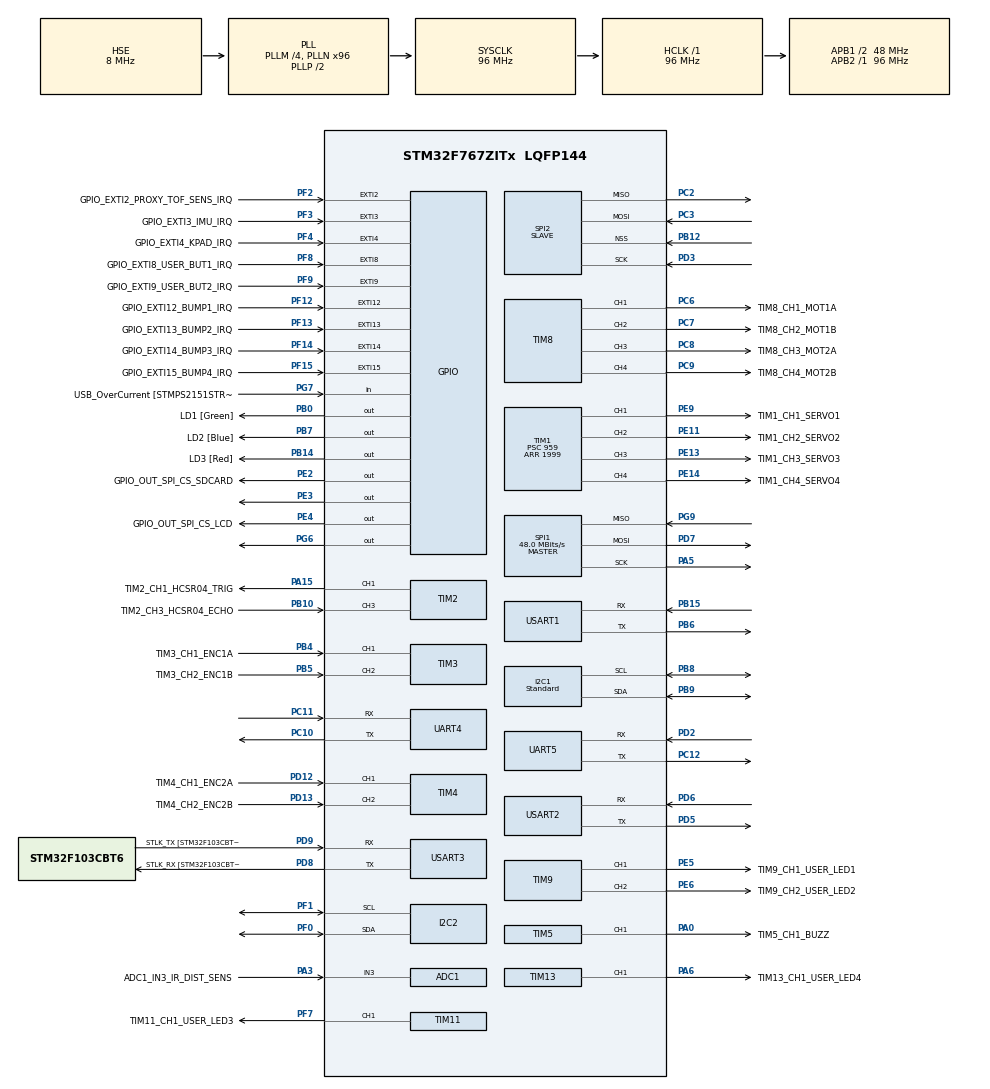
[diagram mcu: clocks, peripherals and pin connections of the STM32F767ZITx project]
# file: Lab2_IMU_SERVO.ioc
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ADC1.Channel-1\#ChannelRegularConversion=ADC_CHANNEL_3
ADC1.NbrOfConversionFlag=1
ADC1.Rank-1\#ChannelRegularConversion=1
ADC1.SamplingTime-1\#ChannelRegularConversion=ADC_SAMPLETIME_3CYCLES
ADC1.master=1
I2C1.I2C_Speed_Mode=I2C_Standard
I2C1.Timing=0x20303E5D
I2C2.Timing=0x20303E5D
Mcu.Family=STM32F7
Mcu.Name=STM32F767ZITx
Mcu.Package=LQFP144
NVIC.EXTI2_IRQn=true\:1\:0\:true\:false\:true\:true\:true\:true
NVIC.PriorityGroup=NVIC_PRIORITYGROUP_4
PA0/WKUP.GPIO_Label=TIM5_CH1_BUZZ
PA0/WKUP.Signal=S_TIM5_CH1
PA1.GPIO_Label=RMII_REF_CLK [LAN8742A-CZ-TR_REFCLK0]
PA1.Signal=ETH_REF_CLK
PA10.GPIO_Label=USB_ID
PA10.Signal=USB_OTG_FS_ID
PA11.GPIO_Label=USB_DM
PA11.Signal=USB_OTG_FS_DM
PA12.GPIO_Label=USB_DP
PA12.Signal=USB_OTG_FS_DP
PA13.GPIO_Label=TMS
PA13.Mode=Serial_Wire
PA13.Signal=SYS_JTMS-SWDIO
PA14.GPIO_Label=TCK
PA14.Mode=Serial_Wire
PA14.Signal=SYS_JTCK-SWCLK
PA15.GPIO_Label=TIM2_CH1_HCSR04_TRIG
PA15.Signal=S_TIM2_CH1_ETR
PA2.GPIO_Label=RMII_MDIO [LAN8742A-CZ-TR_MDIO]
PA2.Signal=ETH_MDIO
PA3.GPIO_Label=ADC1_IN3_IR_DIST_SENS
PA3.Signal=ADCx_IN3
PA5.Mode=Full_Duplex_Master
PA5.Signal=SPI1_SCK
PA6.GPIO_Label=TIM13_CH1_USER_LED4
PA6.Signal=S_TIM13_CH1
PA7.GPIO_Label=RMII_CRS_DV [LAN8742A-CZ-TR_CRS_DV]
PA7.Signal=ETH_CRS_DV
PA8.GPIO_Label=USB_SOF [TP1]
PA8.Signal=USB_OTG_FS_SOF
PA9.GPIO_Label=USB_VBUS
PA9.Signal=USB_OTG_FS_VBUS
PB0.GPIO_Label=LD1 [Green]
PB0.Signal=GPIO_Output
PB10.GPIO_Label=TIM2_CH3_HCSR04_ECHO
PB10.Signal=S_TIM2_CH3
PB12.Mode=NSS_Signal_Hard_Input
PB12.Signal=SPI2_NSS
PB13.GPIO_Label=RMII_TXD1 [LAN8742A-CZ-TR_TXD1]
PB13.Signal=ETH_TXD1
PB14.GPIO_Label=LD3 [Red]
PB14.Signal=GPIO_Output
PB15.Mode=Asynchronous
PB15.Signal=USART1_RX
PB3.GPIO_Label=SWO
PB3.Signal=SYS_JTDO-SWO
PB4.GPIO_Label=TIM3_CH1_ENC1A
PB4.Signal=S_TIM3_CH1
PB5.GPIO_Label=TIM3_CH2_ENC1B
PB5.Signal=S_TIM3_CH2
PB6.Mode=Asynchronous
PB6.Signal=USART1_TX
PB7.GPIO_Label=LD2 [Blue]
PB7.Signal=GPIO_Output
PB8.GPIO_Pu=GPIO_PULLUP
PB8.Mode=I2C
PB8.Signal=I2C1_SCL
PB9.GPIO_Pu=GPIO_PULLUP
PB9.Mode=I2C
PB9.Signal=I2C1_SDA
PC1.GPIO_Label=RMII_MDC [LAN8742A-CZ-TR_MDC]
PC1.Signal=ETH_MDC
PC10.Mode=Asynchronous
PC10.Signal=UART4_TX
PC11.Mode=Asynchronous
PC11.Signal=UART4_RX
PC12.Mode=Asynchronous
PC12.Signal=UART5_TX
PC14/OSC32_IN.Mode=LSE-External-Oscillator
PC14/OSC32_IN.Signal=RCC_OSC32_IN
PC15/OSC32_OUT.Mode=LSE-External-Oscillator
PC15/OSC32_OUT.Signal=RCC_OSC32_OUT
PC2.Mode=Full_Duplex_Slave
PC2.Signal=SPI2_MISO
PC3.Mode=Full_Duplex_Slave
PC3.Signal=SPI2_MOSI
PC4.GPIO_Label=RMII_RXD0 [LAN8742A-CZ-TR_RXD0]
PC4.Signal=ETH_RXD0
PC5.GPIO_Label=RMII_RXD1 [LAN8742A-CZ-TR_RXD1]
PC5.Signal=ETH_RXD1
PC6.GPIO_Label=TIM8_CH1_MOT1A
PC6.Signal=S_TIM8_CH1
PC7.GPIO_Label=TIM8_CH2_MOT1B
PC7.Signal=S_TIM8_CH2
PC8.GPIO_Label=TIM8_CH3_MOT2A
PC8.Signal=S_TIM8_CH3
PC9.GPIO_Label=TIM8_CH4_MOT2B
PC9.Signal=S_TIM8_CH4
PD12.GPIO_Label=TIM4_CH1_ENC2A
PD12.Signal=S_TIM4_CH1
PD13.GPIO_Label=TIM4_CH2_ENC2B
PD13.Signal=S_TIM4_CH2
PD2.Mode=Asynchronous
PD2.Signal=UART5_RX
PD3.Mode=Full_Duplex_Slave
PD3.Signal=SPI2_SCK
PD5.Mode=Asynchronous
PD5.Signal=USART2_TX
PD6.Mode=Asynchronous
PD6.Signal=USART2_RX
PD7.Mode=Full_Duplex_Master
PD7.Signal=SPI1_MOSI
PD8.GPIO_Label=STLK_RX [STM32F103CBT6_PA3]
PD8.Mode=Asynchronous
PD8.Signal=USART3_TX
PD9.GPIO_Label=STLK_TX [STM32F103CBT6_PA2]
PD9.Mode=Asynchronous
PD9.Signal=USART3_RX
PE11.GPIO_Label=TIM1_CH2_SERVO2
PE11.Signal=S_TIM1_CH2
PE13.GPIO_Label=TIM1_CH3_SERVO3
PE13.Signal=S_TIM1_CH3
PE14.GPIO_Label=TIM1_CH4_SERVO4
PE14.Signal=S_TIM1_CH4
PE2.GPIO_Label=GPIO_OUT_SPI_CS_SDCARD
PE2.Signal=GPIO_Output
PE3.Signal=GPIO_Output
PE4.GPIO_Label=GPIO_OUT_SPI_CS_LCD
PE4.Signal=GPIO_Output
PE5.GPIO_Label=TIM9_CH1_USER_LED1
PE5.Signal=S_TIM9_CH1
PE6.GPIO_Label=TIM9_CH2_USER_LED2
PE6.Signal=S_TIM9_CH2
PE9.GPIO_Label=TIM1_CH1_SERVO1
PE9.Signal=S_TIM1_CH1
PF0.GPIO_Pu=GPIO_PULLUP
PF0.Mode=I2C
PF0.Signal=I2C2_SDA
PF1.GPIO_Pu=GPIO_PULLUP
PF1.Mode=I2C
PF1.Signal=I2C2_SCL
PF12.GPIO_Label=GPIO_EXTI12_BUMP1_IRQ
PF12.Signal=GPXTI12
PF13.GPIO_Label=GPIO_EXTI13_BUMP2_IRQ
PF13.Signal=GPXTI13
PF14.GPIO_Label=GPIO_EXTI14_BUMP3_IRQ
PF14.Signal=GPXTI14
PF15.GPIO_Label=GPIO_EXTI15_BUMP4_IRQ
PF15.Signal=GPXTI15
PF2.GPIO_Label=GPIO_EXTI2_PROXY_TOF_SENS_IRQ
PF2.GPIO_ModeDefaultEXTI=GPIO_MODE_IT_FALLING
PF2.Signal=GPXTI2
PF3.GPIO_Label=GPIO_EXTI3_IMU_IRQ
PF3.Signal=GPXTI3
PF4.GPIO_Label=GPIO_EXTI4_KPAD_IRQ
PF4.Signal=GPXTI4
PF7.GPIO_Label=TIM11_CH1_USER_LED3
PF7.Signal=S_TIM11_CH1
PF8.GPIO_Label=GPIO_EXTI8_USER_BUT1_IRQ
PF8.Signal=GPXTI8
PF9.GPIO_Label=GPIO_EXTI9_USER_BUT2_IRQ
PF9.Signal=GPXTI9
PG11.GPIO_Label=RMII_TX_EN [LAN8742A-CZ-TR_TXEN]
PG11.Signal=ETH_TX_EN
PG13.GPIO_Label=RMII_TXD0 [LAN8742A-CZ-TR_TXD0]
PG13.Signal=ETH_TXD0
PG6.Signal=GPIO_Output
PG7.GPIO_Label=USB_OverCurrent [STMPS2151STR_FAULT]
PG7.Signal=GPIO_Input
PG9.Mode=Full_Duplex_Master
PG9.Signal=SPI1_MISO
PH0/OSC_IN.GPIO_Label=MCO [STM32F103CBT6_PA8]
PH0/OSC_IN.Mode=HSE-External-Clock-Source
PH0/OSC_IN.Signal=RCC_OSC_IN
PH1/OSC_OUT.Mode=HSE-External-Clock-Source
PH1/OSC_OUT.Signal=RCC_OSC_OUT
ProjectManager.HeapSize=0x200
ProjectManager.StackSize=0x400
ProjectManager.TargetToolchain=STM32CubeIDE
RCC.48MHZClocksFreq_Value=24000000
RCC.AHBFreq_Value=96000000
RCC.APB1CLKDivider=RCC_HCLK_DIV2
RCC.APB1Freq_Value=48000000
RCC.APB1TimFreq_Value=96000000
RCC.APB2Freq_Value=96000000
RCC.APB2TimFreq_Value=96000000
RCC.CortexFreq_Value=96000000
RCC.HCLKFreq_Value=96000000
RCC.HSE_VALUE=8000000
RCC.HSI_VALUE=16000000
RCC.PLLM=4
RCC.PLLMUL=RCC_PLL_MUL9
RCC.PLLN=96
RCC.PLLQ=4
RCC.PLLSourceVirtual=RCC_PLLSOURCE_HSE
RCC.PRESCALERUSB=RCC_USBCLKSOURCE_PLL_DIV1_5
RCC.SYSCLKFreq_VALUE=96000000
RCC.SYSCLKSource=RCC_SYSCLKSOURCE_PLLCLK
RCC.SYSCLKSourceVirtual=RCC_SYSCLKSOURCE_PLLCLK
RCC.USBFreq_Value=48000000
RCC.VCOOutputFreq_Value=192000000
SH.ADCx_IN3.0=ADC1_IN3,IN3
SH.S_TIM11_CH1.0=TIM11_CH1,PWM Generation1 CH1
SH.S_TIM13_CH1.0=TIM13_CH1,PWM Generation1 CH1
SH.S_TIM1_CH1.0=TIM1_CH1,PWM Generation1 CH1
SH.S_TIM1_CH2.0=TIM1_CH2,PWM Generation2 CH2
SH.S_TIM1_CH3.0=TIM1_CH3,PWM Generation3 CH3
SH.S_TIM1_CH4.0=TIM1_CH4,PWM Generation4 CH4
SH.S_TIM2_CH1_ETR.0=TIM2_CH1,PWM Generation1 CH1
SH.S_TIM2_CH3.0=TIM2_CH3,Input_Capture3_from_TI3
SH.S_TIM3_CH1.0=TIM3_CH1,Encoder_Interface
SH.S_TIM3_CH2.0=TIM3_CH2,Encoder_Interface
SH.S_TIM4_CH1.0=TIM4_CH1,Encoder_Interface
SH.S_TIM4_CH2.0=TIM4_CH2,Encoder_Interface
SH.S_TIM5_CH1.0=TIM5_CH1,PWM Generation1 CH1
SH.S_TIM8_CH1.0=TIM8_CH1,PWM Generation1 CH1
SH.S_TIM8_CH2.0=TIM8_CH2,PWM Generation2 CH2
SH.S_TIM8_CH3.0=TIM8_CH3,PWM Generation3 CH3
SH.S_TIM8_CH4.0=TIM8_CH4,PWM Generation4 CH4
SH.S_TIM9_CH1.0=TIM9_CH1,PWM Generation1 CH1
SH.S_TIM9_CH2.0=TIM9_CH2,PWM Generation2 CH2
SPI1.CalculateBaudRate=48.0 MBits/s
SPI1.Direction=SPI_DIRECTION_2LINES
SPI1.Mode=SPI_MODE_MASTER
SPI1.VirtualType=VM_MASTER
SPI2.Direction=SPI_DIRECTION_2LINES
SPI2.Mode=SPI_MODE_SLAVE
SPI2.VirtualNSS=VM_NSSHARD
SPI2.VirtualType=VM_SLAVE
TIM1.Channel-PWM\ Generation1\ CH1=TIM_CHANNEL_1
TIM1.Channel-PWM\ Generation2\ CH2=TIM_CHANNEL_2
TIM1.Channel-PWM\ Generation3\ CH3=TIM_CHANNEL_3
TIM1.Channel-PWM\ Generation4\ CH4=TIM_CHANNEL_4
TIM1.Period=1999
TIM1.Prescaler=959
TIM11.Channel=TIM_CHANNEL_1
TIM13.Channel=TIM_CHANNEL_1
TIM2.Channel-Input_Capture3_from_TI3=TIM_CHANNEL_3
TIM2.Channel-PWM\ Generation1\ CH1=TIM_CHANNEL_1
TIM5.Channel-PWM\ Generation1\ CH1=TIM_CHANNEL_1
TIM8.Channel-PWM\ Generation1\ CH1=TIM_CHANNEL_1
TIM8.Channel-PWM\ Generation2\ CH2=TIM_CHANNEL_2
TIM8.Channel-PWM\ Generation3\ CH3=TIM_CHANNEL_3
TIM8.Channel-PWM\ Generation4\ CH4=TIM_CHANNEL_4
TIM9.Channel-PWM\ Generation1\ CH1=TIM_CHANNEL_1
TIM9.Channel-PWM\ Generation2\ CH2=TIM_CHANNEL_2
USART1.VirtualMode-Asynchronous=VM_ASYNC
USART2.VirtualMode-Asynchronous=VM_ASYNC
USART3.VirtualMode-Asynchronous=VM_ASYNC
VP_TIM11_VS_ClockSourceINT.Mode=Enable_Timer
VP_TIM13_VS_ClockSourceINT.Mode=Enable_Timer
VP_TIM1_VS_ClockSourceINT.Mode=Internal
VP_TIM2_VS_ClockSourceINT.Mode=Internal
VP_TIM5_VS_ClockSourceINT.Mode=Internal
VP_TIM8_VS_ClockSourceINT.Mode=Internal
board=NUCLEO-F767ZI

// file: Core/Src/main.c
/* USER CODE BEGIN Header */
/**
 ******************************************************************************
 * @file           : main.c
 * @brief          : Main program body
 ******************************************************************************
 * @attention
 *
 * <h2><center>&copy; Copyright (c) 2021 STMicroelectronics.
 * All rights reserved.</center></h2>
 *
 * This software component is licensed by ST under BSD 3-Clause license,
 * the "License"; You may not use this file except in compliance with the
 * License. You may obtain a copy of the License at:
 *                        opensource.org/licenses/BSD-3-Clause
 *
 ******************************************************************************
 */
/* USER CODE END Header */
#include "main.h"

/* USER CODE BEGIN Includes */
#include <stdio.h>
#include "bno055.h"
#include "ertc-datalogger.h"
#include <math.h>
/* USER CODE END Includes */

/* USER CODE BEGIN PD */
#define HAL_TIMEOUT 100

#define I2C_TIMEOUT 200

// servos limits
#define SERVO_MAX_VALUE 200
#define SERVO_MIN_VALUE 100

/* USER CODE END PD */

ADC_HandleTypeDef hadc1;

I2C_HandleTypeDef hi2c1;
I2C_HandleTypeDef hi2c2;

SPI_HandleTypeDef hspi1;
SPI_HandleTypeDef hspi2;

TIM_HandleTypeDef htim1;
TIM_HandleTypeDef htim2;
TIM_HandleTypeDef htim3;
TIM_HandleTypeDef htim4;
TIM_HandleTypeDef htim5;
TIM_HandleTypeDef htim8;
TIM_HandleTypeDef htim9;
TIM_HandleTypeDef htim11;
TIM_HandleTypeDef htim13;

UART_HandleTypeDef huart4;
UART_HandleTypeDef huart5;
UART_HandleTypeDef huart1;
UART_HandleTypeDef huart2;
UART_HandleTypeDef huart3;

void SystemClock_Config(void);
static void MX_GPIO_Init(void);
static void MX_USART3_UART_Init(void);
static void MX_ADC1_Init(void);
static void MX_I2C1_Init(void);
static void MX_I2C2_Init(void);
static void MX_SPI1_Init(void);
static void MX_TIM1_Init(void);
static void MX_TIM2_Init(void);
static void MX_TIM3_Init(void);
static void MX_TIM4_Init(void);
static void MX_TIM5_Init(void);
static void MX_TIM8_Init(void);
static void MX_UART4_Init(void);
static void MX_UART5_Init(void);
static void MX_USART1_UART_Init(void);
static void MX_USART2_UART_Init(void);
static void MX_TIM9_Init(void);
static void MX_SPI2_Init(void);
static void MX_TIM11_Init(void);
static void MX_TIM13_Init(void);
/* USER CODE BEGIN PFP */
extern void initialise_monitor_handles(void);
uint32_t saturate(uint32_t val, uint32_t min, uint32_t max);
/* USER CODE END PFP */

/* USER CODE BEGIN 0 */
void error()
{
  // printf("An error has occurred\n")
  while (1)
    ;
}

/*base structure to communicate with the imu*/
struct bno055_t bno055;

/* structure used to read the accel xyz data output as m/s2 or mg */
struct bno055_accel_double_t d_accel_xyz;
/* structure used to read the gyro xyz data output as dps or rps */
struct bno055_gyro_double_t d_gyro_xyz;

int8_t bus_read_wrapper(uint8_t dev_addr, uint8_t reg_addr, uint8_t *reg_data, uint8_t r_len)
{
  HAL_StatusTypeDef status;
  status = HAL_I2C_Mem_Read(&hi2c1, dev_addr << 1, reg_addr, 1, reg_data, r_len, I2C_TIMEOUT);
  return (int8_t)status;
}

int8_t bus_write_wrapper(uint8_t dev_addr, uint8_t reg_addr, uint8_t *reg_data, uint8_t wr_len)
{
  HAL_StatusTypeDef status;
  status = HAL_I2C_Mem_Write(&hi2c1, dev_addr << 1, reg_addr, 1, reg_data, wr_len, I2C_TIMEOUT);
  return (int8_t)status;
}

void delay_wrapper(u32 delay)
{
  HAL_Delay(delay);
}

uint32_t saturate(uint32_t val, uint32_t min, uint32_t max){
	if(val<min)
		return min;
	else if(val>max)
		return max;
	else
		return val;
}

/* declare an ertc_dlog struct */
struct ertc_dlog logger;
struct datalog
{
	float w1, w2 ;
	float u1, u2 ;
} logger_data;

int8_t pan = 0;
int8_t tilt = 0;
float angle = 0;

/* USER CODE END 0 */

int main(void)
{

  /* MCU Configuration--------------------------------------------------------*/

  /* Reset of all peripherals, Initializes the Flash interface and the Systick. */
  HAL_Init();

  /* USER CODE BEGIN Init */
  // initialise_monitor_handles();
  /* USER CODE END Init */

  /* Configure the system clock */
  SystemClock_Config();

  /* Initialize all configured peripherals */
  MX_GPIO_Init();
  MX_USART3_UART_Init();
  MX_ADC1_Init();
  MX_I2C1_Init();
  MX_I2C2_Init();
  MX_SPI1_Init();
  MX_TIM1_Init();
  MX_TIM2_Init();
  MX_TIM3_Init();
  MX_TIM4_Init();
  MX_TIM5_Init();
  MX_TIM8_Init();
  MX_UART4_Init();
  MX_UART5_Init();
  MX_USART1_UART_Init();
  MX_USART2_UART_Init();
  MX_TIM9_Init();
  MX_SPI2_Init();
  MX_TIM11_Init();
  MX_TIM13_Init();
  /* USER CODE BEGIN 2 */

  /* Configure data logger  */
  logger.uart_handle = huart3; // for serial
  //logger.uart_handle = huart2; // for wifi

  /* Disable LCD SPI SS */
  HAL_GPIO_WritePin(GPIO_OUT_SPI_CS_LCD_GPIO_Port, GPIO_OUT_SPI_CS_LCD_Pin, GPIO_PIN_SET);

  bno055.bus_write = bus_write_wrapper;
  bno055.bus_read = bus_read_wrapper;
  bno055.delay_msec = delay_wrapper;
  bno055.dev_addr = 0x28;
  int32_t comres = bno055_init(&bno055);

  comres += bno055_set_power_mode(BNO055_POWER_MODE_NORMAL);
  comres += bno055_set_operation_mode(BNO055_OPERATION_MODE_AMG);

  HAL_TIM_PWM_Start(&htim1, TIM_CHANNEL_2);
  HAL_TIM_PWM_Start(&htim1, TIM_CHANNEL_3);

  /* USER CODE END 2 */

  /* Infinite loop */
  while (1)
  {

    /* USER CODE BEGIN 3 */
	  HAL_Delay(20);
	  bno055_convert_double_accel_xyz_msq(&d_accel_xyz);
	  bno055_convert_double_gyro_xyz_rps(&d_gyro_xyz);
	  angle = (asin(d_accel_xyz.y/ 9.81)) * 180 / 3.14;
	  tilt = -angle;
	  angle = d_gyro_xyz.z * 180 / 3.14;
	  pan = -angle/8;

	  //logger_data.w1 = d_accel_xyz.x;
	  logger_data.w1 = pan;
	  logger_data.w2 = d_gyro_xyz.z;
	  logger_data.u1 = tilt;
	  logger_data.u2 = d_accel_xyz.y;
	  /*logger_data.w3 = d_accel_xyz.z;
	  logger_data.u1 = d_gyro_xyz.x;
	  logger_data.u2 = d_gyro_xyz.y;
	  logger_data.u3 = d_gyro_xyz.z;*/
	  ertc_dlog_send(&logger, &logger_data, sizeof(logger_data));
	  ertc_dlog_update(&logger);

	  /* update pan-tilt camera */
	__HAL_TIM_SET_COMPARE(&htim1, TIM_CHANNEL_3,
					(uint32_t)saturate((150+pan*(50.0/45.0)), SERVO_MIN_VALUE, SERVO_MAX_VALUE)); // tilt
	__HAL_TIM_SET_COMPARE(&htim1, TIM_CHANNEL_2,
					(uint32_t)saturate((150+tilt*(50.0/45.0)), SERVO_MIN_VALUE, SERVO_MAX_VALUE)); // pan
  }
  /* USER CODE END 3 */
}

void SystemClock_Config(void)
{
  RCC_OscInitTypeDef RCC_OscInitStruct = {0};
  RCC_ClkInitTypeDef RCC_ClkInitStruct = {0};

  /** Configure LSE Drive Capability
  */
  HAL_PWR_EnableBkUpAccess();

  /** Configure the main internal regulator output voltage
  */
  __HAL_RCC_PWR_CLK_ENABLE();
  __HAL_PWR_VOLTAGESCALING_CONFIG(PWR_REGULATOR_VOLTAGE_SCALE3);

  /** Initializes the RCC Oscillators according to the specified parameters
  * in the RCC_OscInitTypeDef structure.
  */
  RCC_OscInitStruct.OscillatorType = RCC_OSCILLATORTYPE_HSE;
  RCC_OscInitStruct.HSEState = RCC_HSE_BYPASS;
  RCC_OscInitStruct.PLL.PLLState = RCC_PLL_ON;
  RCC_OscInitStruct.PLL.PLLSource = RCC_PLLSOURCE_HSE;
  RCC_OscInitStruct.PLL.PLLM = 4;
  RCC_OscInitStruct.PLL.PLLN = 96;
  RCC_OscInitStruct.PLL.PLLP = RCC_PLLP_DIV2;
  RCC_OscInitStruct.PLL.PLLQ = 4;
  RCC_OscInitStruct.PLL.PLLR = 2;
  if (HAL_RCC_OscConfig(&RCC_OscInitStruct) != HAL_OK)
  {
    Error_Handler();
  }

  /** Activate the Over-Drive mode
  */
  if (HAL_PWREx_EnableOverDrive() != HAL_OK)
  {
    Error_Handler();
  }

  /** Initializes the CPU, AHB and APB buses clocks
  */
  RCC_ClkInitStruct.ClockType = RCC_CLOCKTYPE_HCLK|RCC_CLOCKTYPE_SYSCLK
                              |RCC_CLOCKTYPE_PCLK1|RCC_CLOCKTYPE_PCLK2;
  RCC_ClkInitStruct.SYSCLKSource = RCC_SYSCLKSOURCE_PLLCLK;
  RCC_ClkInitStruct.AHBCLKDivider = RCC_SYSCLK_DIV1;
  RCC_ClkInitStruct.APB1CLKDivider = RCC_HCLK_DIV2;
  RCC_ClkInitStruct.APB2CLKDivider = RCC_HCLK_DIV1;

  if (HAL_RCC_ClockConfig(&RCC_ClkInitStruct, FLASH_LATENCY_3) != HAL_OK)
  {
    Error_Handler();
  }
}

static void MX_ADC1_Init(void)
{

  ADC_ChannelConfTypeDef sConfig = {0};

  /** Configure the global features of the ADC (Clock, Resolution, Data Alignment and number of conversion)
  */
  hadc1.Instance = ADC1;
  hadc1.Init.ClockPrescaler = ADC_CLOCK_SYNC_PCLK_DIV4;
  hadc1.Init.Resolution = ADC_RESOLUTION_12B;
  hadc1.Init.ScanConvMode = ADC_SCAN_DISABLE;
  hadc1.Init.ContinuousConvMode = DISABLE;
  hadc1.Init.DiscontinuousConvMode = DISABLE;
  hadc1.Init.ExternalTrigConvEdge = ADC_EXTERNALTRIGCONVEDGE_NONE;
  hadc1.Init.ExternalTrigConv = ADC_SOFTWARE_START;
  hadc1.Init.DataAlign = ADC_DATAALIGN_RIGHT;
  hadc1.Init.NbrOfConversion = 1;
  hadc1.Init.DMAContinuousRequests = DISABLE;
  hadc1.Init.EOCSelection = ADC_EOC_SINGLE_CONV;
  if (HAL_ADC_Init(&hadc1) != HAL_OK)
  {
    Error_Handler();
  }

  /** Configure for the selected ADC regular channel its corresponding rank in the sequencer and its sample time.
  */
  sConfig.Channel = ADC_CHANNEL_3;
  sConfig.Rank = ADC_REGULAR_RANK_1;
  sConfig.SamplingTime = ADC_SAMPLETIME_3CYCLES;
  if (HAL_ADC_ConfigChannel(&hadc1, &sConfig) != HAL_OK)
  {
    Error_Handler();
  }

}

static void MX_I2C1_Init(void)
{

  hi2c1.Instance = I2C1;
  hi2c1.Init.Timing = 0x20303E5D;
  hi2c1.Init.OwnAddress1 = 0;
  hi2c1.Init.AddressingMode = I2C_ADDRESSINGMODE_7BIT;
  hi2c1.Init.DualAddressMode = I2C_DUALADDRESS_DISABLE;
  hi2c1.Init.OwnAddress2 = 0;
  hi2c1.Init.OwnAddress2Masks = I2C_OA2_NOMASK;
  hi2c1.Init.GeneralCallMode = I2C_GENERALCALL_DISABLE;
  hi2c1.Init.NoStretchMode = I2C_NOSTRETCH_DISABLE;
  if (HAL_I2C_Init(&hi2c1) != HAL_OK)
  {
    Error_Handler();
  }

  /** Configure Analogue filter
  */
  if (HAL_I2CEx_ConfigAnalogFilter(&hi2c1, I2C_ANALOGFILTER_ENABLE) != HAL_OK)
  {
    Error_Handler();
  }

  /** Configure Digital filter
  */
  if (HAL_I2CEx_ConfigDigitalFilter(&hi2c1, 0) != HAL_OK)
  {
    Error_Handler();
  }

}

static void MX_I2C2_Init(void)
{

  hi2c2.Instance = I2C2;
  hi2c2.Init.Timing = 0x20303E5D;
  hi2c2.Init.OwnAddress1 = 0;
  hi2c2.Init.AddressingMode = I2C_ADDRESSINGMODE_7BIT;
  hi2c2.Init.DualAddressMode = I2C_DUALADDRESS_DISABLE;
  hi2c2.Init.OwnAddress2 = 0;
  hi2c2.Init.OwnAddress2Masks = I2C_OA2_NOMASK;
  hi2c2.Init.GeneralCallMode = I2C_GENERALCALL_DISABLE;
  hi2c2.Init.NoStretchMode = I2C_NOSTRETCH_DISABLE;
  if (HAL_I2C_Init(&hi2c2) != HAL_OK)
  {
    Error_Handler();
  }

  /** Configure Analogue filter
  */
  if (HAL_I2CEx_ConfigAnalogFilter(&hi2c2, I2C_ANALOGFILTER_ENABLE) != HAL_OK)
  {
    Error_Handler();
  }

  /** Configure Digital filter
  */
  if (HAL_I2CEx_ConfigDigitalFilter(&hi2c2, 0) != HAL_OK)
  {
    Error_Handler();
  }

}

static void MX_SPI1_Init(void)
{

  /* SPI1 parameter configuration*/
  hspi1.Instance = SPI1;
  hspi1.Init.Mode = SPI_MODE_MASTER;
  hspi1.Init.Direction = SPI_DIRECTION_2LINES;
  hspi1.Init.DataSize = SPI_DATASIZE_4BIT;
  hspi1.Init.CLKPolarity = SPI_POLARITY_LOW;
  hspi1.Init.CLKPhase = SPI_PHASE_1EDGE;
  hspi1.Init.NSS = SPI_NSS_SOFT;
  hspi1.Init.BaudRatePrescaler = SPI_BAUDRATEPRESCALER_2;
  hspi1.Init.FirstBit = SPI_FIRSTBIT_MSB;
  hspi1.Init.TIMode = SPI_TIMODE_DISABLE;
  hspi1.Init.CRCCalculation = SPI_CRCCALCULATION_DISABLE;
  hspi1.Init.CRCPolynomial = 7;
  hspi1.Init.CRCLength = SPI_CRC_LENGTH_DATASIZE;
  hspi1.Init.NSSPMode = SPI_NSS_PULSE_ENABLE;
  if (HAL_SPI_Init(&hspi1) != HAL_OK)
  {
    Error_Handler();
  }

}

static void MX_SPI2_Init(void)
{

  /* SPI2 parameter configuration*/
  hspi2.Instance = SPI2;
  hspi2.Init.Mode = SPI_MODE_SLAVE;
  hspi2.Init.Direction = SPI_DIRECTION_2LINES;
  hspi2.Init.DataSize = SPI_DATASIZE_4BIT;
  hspi2.Init.CLKPolarity = SPI_POLARITY_LOW;
  hspi2.Init.CLKPhase = SPI_PHASE_1EDGE;
  hspi2.Init.NSS = SPI_NSS_HARD_INPUT;
  hspi2.Init.FirstBit = SPI_FIRSTBIT_MSB;
  hspi2.Init.TIMode = SPI_TIMODE_DISABLE;
  hspi2.Init.CRCCalculation = SPI_CRCCALCULATION_DISABLE;
  hspi2.Init.CRCPolynomial = 7;
  hspi2.Init.CRCLength = SPI_CRC_LENGTH_DATASIZE;
  hspi2.Init.NSSPMode = SPI_NSS_PULSE_DISABLE;
  if (HAL_SPI_Init(&hspi2) != HAL_OK)
  {
    Error_Handler();
  }

}

static void MX_TIM1_Init(void)
{

  TIM_ClockConfigTypeDef sClockSourceConfig = {0};
  TIM_MasterConfigTypeDef sMasterConfig = {0};
  TIM_OC_InitTypeDef sConfigOC = {0};
  TIM_BreakDeadTimeConfigTypeDef sBreakDeadTimeConfig = {0};

  htim1.Instance = TIM1;
  htim1.Init.Prescaler = 959;
  htim1.Init.CounterMode = TIM_COUNTERMODE_UP;
  htim1.Init.Period = 1999;
  htim1.Init.ClockDivision = TIM_CLOCKDIVISION_DIV1;
  htim1.Init.RepetitionCounter = 0;
  htim1.Init.AutoReloadPreload = TIM_AUTORELOAD_PRELOAD_DISABLE;
  if (HAL_TIM_Base_Init(&htim1) != HAL_OK)
  {
    Error_Handler();
  }
  sClockSourceConfig.ClockSource = TIM_CLOCKSOURCE_INTERNAL;
  if (HAL_TIM_ConfigClockSource(&htim1, &sClockSourceConfig) != HAL_OK)
  {
    Error_Handler();
  }
  if (HAL_TIM_PWM_Init(&htim1) != HAL_OK)
  {
    Error_Handler();
  }
  sMasterConfig.MasterOutputTrigger = TIM_TRGO_RESET;
  sMasterConfig.MasterOutputTrigger2 = TIM_TRGO2_RESET;
  sMasterConfig.MasterSlaveMode = TIM_MASTERSLAVEMODE_DISABLE;
  if (HAL_TIMEx_MasterConfigSynchronization(&htim1, &sMasterConfig) != HAL_OK)
  {
    Error_Handler();
  }
  sConfigOC.OCMode = TIM_OCMODE_PWM1;
  sConfigOC.Pulse = 0;
  sConfigOC.OCPolarity = TIM_OCPOLARITY_HIGH;
  sConfigOC.OCNPolarity = TIM_OCNPOLARITY_HIGH;
  sConfigOC.OCFastMode = TIM_OCFAST_DISABLE;
  sConfigOC.OCIdleState = TIM_OCIDLESTATE_RESET;
  sConfigOC.OCNIdleState = TIM_OCNIDLESTATE_RESET;
  if (HAL_TIM_PWM_ConfigChannel(&htim1, &sConfigOC, TIM_CHANNEL_1) != HAL_OK)
  {
    Error_Handler();
  }
  if (HAL_TIM_PWM_ConfigChannel(&htim1, &sConfigOC, TIM_CHANNEL_2) != HAL_OK)
  {
    Error_Handler();
  }
  if (HAL_TIM_PWM_ConfigChannel(&htim1, &sConfigOC, TIM_CHANNEL_3) != HAL_OK)
  {
    Error_Handler();
  }
  if (HAL_TIM_PWM_ConfigChannel(&htim1, &sConfigOC, TIM_CHANNEL_4) != HAL_OK)
  {
    Error_Handler();
  }
  sBreakDeadTimeConfig.OffStateRunMode = TIM_OSSR_DISABLE;
  sBreakDeadTimeConfig.OffStateIDLEMode = TIM_OSSI_DISABLE;
  sBreakDeadTimeConfig.LockLevel = TIM_LOCKLEVEL_OFF;
  sBreakDeadTimeConfig.DeadTime = 0;
  sBreakDeadTimeConfig.BreakState = TIM_BREAK_DISABLE;
  sBreakDeadTimeConfig.BreakPolarity = TIM_BREAKPOLARITY_HIGH;
  sBreakDeadTimeConfig.BreakFilter = 0;
  sBreakDeadTimeConfig.Break2State = TIM_BREAK2_DISABLE;
  sBreakDeadTimeConfig.Break2Polarity = TIM_BREAK2POLARITY_HIGH;
  sBreakDeadTimeConfig.Break2Filter = 0;
  sBreakDeadTimeConfig.AutomaticOutput = TIM_AUTOMATICOUTPUT_DISABLE;
  if (HAL_TIMEx_ConfigBreakDeadTime(&htim1, &sBreakDeadTimeConfig) != HAL_OK)
  {
    Error_Handler();
  }
  HAL_TIM_MspPostInit(&htim1);

}

static void MX_TIM2_Init(void)
{

  TIM_ClockConfigTypeDef sClockSourceConfig = {0};
  TIM_MasterConfigTypeDef sMasterConfig = {0};
  TIM_OC_InitTypeDef sConfigOC = {0};
  TIM_IC_InitTypeDef sConfigIC = {0};

  htim2.Instance = TIM2;
  htim2.Init.Prescaler = 0;
  htim2.Init.CounterMode = TIM_COUNTERMODE_UP;
  htim2.Init.Period = 4294967295;
  htim2.Init.ClockDivision = TIM_CLOCKDIVISION_DIV1;
  htim2.Init.AutoReloadPreload = TIM_AUTORELOAD_PRELOAD_DISABLE;
  if (HAL_TIM_Base_Init(&htim2) != HAL_OK)
  {
    Error_Handler();
  }
  sClockSourceConfig.ClockSource = TIM_CLOCKSOURCE_INTERNAL;
  if (HAL_TIM_ConfigClockSource(&htim2, &sClockSourceConfig) != HAL_OK)
  {
    Error_Handler();
  }
  if (HAL_TIM_PWM_Init(&htim2) != HAL_OK)
  {
    Error_Handler();
  }
  if (HAL_TIM_IC_Init(&htim2) != HAL_OK)
  {
    Error_Handler();
  }
  sMasterConfig.MasterOutputTrigger = TIM_TRGO_RESET;
  sMasterConfig.MasterSlaveMode = TIM_MASTERSLAVEMODE_DISABLE;
  if (HAL_TIMEx_MasterConfigSynchronization(&htim2, &sMasterConfig) != HAL_OK)
  {
    Error_Handler();
  }
  sConfigOC.OCMode = TIM_OCMODE_PWM1;
  sConfigOC.Pulse = 0;
  sConfigOC.OCPolarity = TIM_OCPOLARITY_HIGH;
  sConfigOC.OCFastMode = TIM_OCFAST_DISABLE;
  if (HAL_TIM_PWM_ConfigChannel(&htim2, &sConfigOC, TIM_CHANNEL_1) != HAL_OK)
  {
    Error_Handler();
  }
  sConfigIC.ICPolarity = TIM_INPUTCHANNELPOLARITY_RISING;
  sConfigIC.ICSelection = TIM_ICSELECTION_DIRECTTI;
  sConfigIC.ICPrescaler = TIM_ICPSC_DIV1;
  sConfigIC.ICFilter = 0;
  if (HAL_TIM_IC_ConfigChannel(&htim2, &sConfigIC, TIM_CHANNEL_3) != HAL_OK)
  {
    Error_Handler();
  }
  HAL_TIM_MspPostInit(&htim2);

}

static void MX_TIM3_Init(void)
{

  TIM_Encoder_InitTypeDef sConfig = {0};
  TIM_MasterConfigTypeDef sMasterConfig = {0};

  htim3.Instance = TIM3;
  htim3.Init.Prescaler = 0;
  htim3.Init.CounterMode = TIM_COUNTERMODE_UP;
  htim3.Init.Period = 65535;
  htim3.Init.ClockDivision = TIM_CLOCKDIVISION_DIV1;
  htim3.Init.AutoReloadPreload = TIM_AUTORELOAD_PRELOAD_DISABLE;
  sConfig.EncoderMode = TIM_ENCODERMODE_TI1;
  sConfig.IC1Polarity = TIM_ICPOLARITY_RISING;
  sConfig.IC1Selection = TIM_ICSELECTION_DIRECTTI;
  sConfig.IC1Prescaler = TIM_ICPSC_DIV1;
  sConfig.IC1Filter = 0;
  sConfig.IC2Polarity = TIM_ICPOLARITY_RISING;
  sConfig.IC2Selection = TIM_ICSELECTION_DIRECTTI;
  sConfig.IC2Prescaler = TIM_ICPSC_DIV1;
  sConfig.IC2Filter = 0;
  if (HAL_TIM_Encoder_Init(&htim3, &sConfig) != HAL_OK)
  {
    Error_Handler();
  }
  sMasterConfig.MasterOutputTrigger = TIM_TRGO_RESET;
  sMasterConfig.MasterSlaveMode = TIM_MASTERSLAVEMODE_DISABLE;
  if (HAL_TIMEx_MasterConfigSynchronization(&htim3, &sMasterConfig) != HAL_OK)
  {
    Error_Handler();
  }

}

static void MX_TIM4_Init(void)
{

  TIM_Encoder_InitTypeDef sConfig = {0};
  TIM_MasterConfigTypeDef sMasterConfig = {0};

  htim4.Instance = TIM4;
  htim4.Init.Prescaler = 0;
  htim4.Init.CounterMode = TIM_COUNTERMODE_UP;
  htim4.Init.Period = 65535;
  htim4.Init.ClockDivision = TIM_CLOCKDIVISION_DIV1;
  htim4.Init.AutoReloadPreload = TIM_AUTORELOAD_PRELOAD_DISABLE;
  sConfig.EncoderMode = TIM_ENCODERMODE_TI1;
  sConfig.IC1Polarity = TIM_ICPOLARITY_RISING;
  sConfig.IC1Selection = TIM_ICSELECTION_DIRECTTI;
  sConfig.IC1Prescaler = TIM_ICPSC_DIV1;
  sConfig.IC1Filter = 0;
  sConfig.IC2Polarity = TIM_ICPOLARITY_RISING;
  sConfig.IC2Selection = TIM_ICSELECTION_DIRECTTI;
  sConfig.IC2Prescaler = TIM_ICPSC_DIV1;
  sConfig.IC2Filter = 0;
  if (HAL_TIM_Encoder_Init(&htim4, &sConfig) != HAL_OK)
  {
    Error_Handler();
  }
  sMasterConfig.MasterOutputTrigger = TIM_TRGO_RESET;
  sMasterConfig.MasterSlaveMode = TIM_MASTERSLAVEMODE_DISABLE;
  if (HAL_TIMEx_MasterConfigSynchronization(&htim4, &sMasterConfig) != HAL_OK)
  {
    Error_Handler();
  }

}

static void MX_TIM5_Init(void)
{

  TIM_ClockConfigTypeDef sClockSourceConfig = {0};
  TIM_MasterConfigTypeDef sMasterConfig = {0};
  TIM_OC_InitTypeDef sConfigOC = {0};

  htim5.Instance = TIM5;
  htim5.Init.Prescaler = 0;
  htim5.Init.CounterMode = TIM_COUNTERMODE_UP;
  htim5.Init.Period = 4294967295;
  htim5.Init.ClockDivision = TIM_CLOCKDIVISION_DIV1;
  htim5.Init.AutoReloadPreload = TIM_AUTORELOAD_PRELOAD_DISABLE;
  if (HAL_TIM_Base_Init(&htim5) != HAL_OK)
  {
    Error_Handler();
  }
  sClockSourceConfig.ClockSource = TIM_CLOCKSOURCE_INTERNAL;
  if (HAL_TIM_ConfigClockSource(&htim5, &sClockSourceConfig) != HAL_OK)
  {
    Error_Handler();
  }
  if (HAL_TIM_PWM_Init(&htim5) != HAL_OK)
  {
    Error_Handler();
  }
  sMasterConfig.MasterOutputTrigger = TIM_TRGO_RESET;
  sMasterConfig.MasterSlaveMode = TIM_MASTERSLAVEMODE_DISABLE;
  if (HAL_TIMEx_MasterConfigSynchronization(&htim5, &sMasterConfig) != HAL_OK)
  {
    Error_Handler();
  }
  sConfigOC.OCMode = TIM_OCMODE_PWM1;
  sConfigOC.Pulse = 0;
  sConfigOC.OCPolarity = TIM_OCPOLARITY_HIGH;
  sConfigOC.OCFastMode = TIM_OCFAST_DISABLE;
  if (HAL_TIM_PWM_ConfigChannel(&htim5, &sConfigOC, TIM_CHANNEL_1) != HAL_OK)
  {
    Error_Handler();
  }
  HAL_TIM_MspPostInit(&htim5);

}

static void MX_TIM8_Init(void)
{

  TIM_ClockConfigTypeDef sClockSourceConfig = {0};
  TIM_MasterConfigTypeDef sMasterConfig = {0};
  TIM_OC_InitTypeDef sConfigOC = {0};
  TIM_BreakDeadTimeConfigTypeDef sBreakDeadTimeConfig = {0};

  htim8.Instance = TIM8;
  htim8.Init.Prescaler = 0;
  htim8.Init.CounterMode = TIM_COUNTERMODE_UP;
  htim8.Init.Period = 65535;
  htim8.Init.ClockDivision = TIM_CLOCKDIVISION_DIV1;
  htim8.Init.RepetitionCounter = 0;
  htim8.Init.AutoReloadPreload = TIM_AUTORELOAD_PRELOAD_DISABLE;
  if (HAL_TIM_Base_Init(&htim8) != HAL_OK)
  {
    Error_Handler();
  }
  sClockSourceConfig.ClockSource = TIM_CLOCKSOURCE_INTERNAL;
  if (HAL_TIM_ConfigClockSource(&htim8, &sClockSourceConfig) != HAL_OK)
  {
    Error_Handler();
  }
  if (HAL_TIM_PWM_Init(&htim8) != HAL_OK)
  {
    Error_Handler();
  }
  sMasterConfig.MasterOutputTrigger = TIM_TRGO_RESET;
  sMasterConfig.MasterOutputTrigger2 = TIM_TRGO2_RESET;
  sMasterConfig.MasterSlaveMode = TIM_MASTERSLAVEMODE_DISABLE;
  if (HAL_TIMEx_MasterConfigSynchronization(&htim8, &sMasterConfig) != HAL_OK)
  {
    Error_Handler();
  }
  sConfigOC.OCMode = TIM_OCMODE_PWM1;
  sConfigOC.Pulse = 0;
  sConfigOC.OCPolarity = TIM_OCPOLARITY_HIGH;
  sConfigOC.OCNPolarity = TIM_OCNPOLARITY_HIGH;
  sConfigOC.OCFastMode = TIM_OCFAST_DISABLE;
  sConfigOC.OCIdleState = TIM_OCIDLESTATE_RESET;
  sConfigOC.OCNIdleState = TIM_OCNIDLESTATE_RESET;
  if (HAL_TIM_PWM_ConfigChannel(&htim8, &sConfigOC, TIM_CHANNEL_1) != HAL_OK)
  {
    Error_Handler();
  }
  if (HAL_TIM_PWM_ConfigChannel(&htim8, &sConfigOC, TIM_CHANNEL_2) != HAL_OK)
  {
    Error_Handler();
  }
  if (HAL_TIM_PWM_ConfigChannel(&htim8, &sConfigOC, TIM_CHANNEL_3) != HAL_OK)
  {
    Error_Handler();
  }
  if (HAL_TIM_PWM_ConfigChannel(&htim8, &sConfigOC, TIM_CHANNEL_4) != HAL_OK)
  {
    Error_Handler();
  }
  sBreakDeadTimeConfig.OffStateRunMode = TIM_OSSR_DISABLE;
  sBreakDeadTimeConfig.OffStateIDLEMode = TIM_OSSI_DISABLE;
  sBreakDeadTimeConfig.LockLevel = TIM_LOCKLEVEL_OFF;
  sBreakDeadTimeConfig.DeadTime = 0;
  sBreakDeadTimeConfig.BreakState = TIM_BREAK_DISABLE;
  sBreakDeadTimeConfig.BreakPolarity = TIM_BREAKPOLARITY_HIGH;
  sBreakDeadTimeConfig.BreakFilter = 0;
  sBreakDeadTimeConfig.Break2State = TIM_BREAK2_DISABLE;
  sBreakDeadTimeConfig.Break2Polarity = TIM_BREAK2POLARITY_HIGH;
  sBreakDeadTimeConfig.Break2Filter = 0;
  sBreakDeadTimeConfig.AutomaticOutput = TIM_AUTOMATICOUTPUT_DISABLE;
  if (HAL_TIMEx_ConfigBreakDeadTime(&htim8, &sBreakDeadTimeConfig) != HAL_OK)
  {
    Error_Handler();
  }
  HAL_TIM_MspPostInit(&htim8);

}

static void MX_TIM9_Init(void)
{

  TIM_OC_InitTypeDef sConfigOC = {0};

  htim9.Instance = TIM9;
  htim9.Init.Prescaler = 0;
  htim9.Init.CounterMode = TIM_COUNTERMODE_UP;
  htim9.Init.Period = 65535;
  htim9.Init.ClockDivision = TIM_CLOCKDIVISION_DIV1;
  htim9.Init.AutoReloadPreload = TIM_AUTORELOAD_PRELOAD_DISABLE;
  if (HAL_TIM_PWM_Init(&htim9) != HAL_OK)
  {
    Error_Handler();
  }
  sConfigOC.OCMode = TIM_OCMODE_PWM1;
  sConfigOC.Pulse = 0;
  sConfigOC.OCPolarity = TIM_OCPOLARITY_HIGH;
  sConfigOC.OCFastMode = TIM_OCFAST_DISABLE;
  if (HAL_TIM_PWM_ConfigChannel(&htim9, &sConfigOC, TIM_CHANNEL_1) != HAL_OK)
  {
    Error_Handler();
  }
  if (HAL_TIM_PWM_ConfigChannel(&htim9, &sConfigOC, TIM_CHANNEL_2) != HAL_OK)
  {
    Error_Handler();
  }
  HAL_TIM_MspPostInit(&htim9);

}

static void MX_TIM11_Init(void)
{

  TIM_OC_InitTypeDef sConfigOC = {0};

  htim11.Instance = TIM11;
  htim11.Init.Prescaler = 0;
  htim11.Init.CounterMode = TIM_COUNTERMODE_UP;
  htim11.Init.Period = 65535;
  htim11.Init.ClockDivision = TIM_CLOCKDIVISION_DIV1;
  htim11.Init.AutoReloadPreload = TIM_AUTORELOAD_PRELOAD_DISABLE;
  if (HAL_TIM_Base_Init(&htim11) != HAL_OK)
  {
    Error_Handler();
  }
  if (HAL_TIM_PWM_Init(&htim11) != HAL_OK)
  {
    Error_Handler();
  }
  sConfigOC.OCMode = TIM_OCMODE_PWM1;
  sConfigOC.Pulse = 0;
  sConfigOC.OCPolarity = TIM_OCPOLARITY_HIGH;
  sConfigOC.OCFastMode = TIM_OCFAST_DISABLE;
  if (HAL_TIM_PWM_ConfigChannel(&htim11, &sConfigOC, TIM_CHANNEL_1) != HAL_OK)
  {
    Error_Handler();
  }
  HAL_TIM_MspPostInit(&htim11);

}

static void MX_TIM13_Init(void)
{

  TIM_OC_InitTypeDef sConfigOC = {0};

  htim13.Instance = TIM13;
  htim13.Init.Prescaler = 0;
  htim13.Init.CounterMode = TIM_COUNTERMODE_UP;
  htim13.Init.Period = 65535;
  htim13.Init.ClockDivision = TIM_CLOCKDIVISION_DIV1;
  htim13.Init.AutoReloadPreload = TIM_AUTORELOAD_PRELOAD_DISABLE;
  if (HAL_TIM_Base_Init(&htim13) != HAL_OK)
  {
    Error_Handler();
  }
  if (HAL_TIM_PWM_Init(&htim13) != HAL_OK)
  {
    Error_Handler();
  }
  sConfigOC.OCMode = TIM_OCMODE_PWM1;
  sConfigOC.Pulse = 0;
  sConfigOC.OCPolarity = TIM_OCPOLARITY_HIGH;
  sConfigOC.OCFastMode = TIM_OCFAST_DISABLE;
  if (HAL_TIM_PWM_ConfigChannel(&htim13, &sConfigOC, TIM_CHANNEL_1) != HAL_OK)
  {
    Error_Handler();
  }
  HAL_TIM_MspPostInit(&htim13);

}

static void MX_UART4_Init(void)
{

  huart4.Instance = UART4;
  huart4.Init.BaudRate = 115200;
  huart4.Init.WordLength = UART_WORDLENGTH_8B;
  huart4.Init.StopBits = UART_STOPBITS_1;
  huart4.Init.Parity = UART_PARITY_NONE;
  huart4.Init.Mode = UART_MODE_TX_RX;
  huart4.Init.HwFlowCtl = UART_HWCONTROL_NONE;
  huart4.Init.OverSampling = UART_OVERSAMPLING_16;
  huart4.Init.OneBitSampling = UART_ONE_BIT_SAMPLE_DISABLE;
  huart4.AdvancedInit.AdvFeatureInit = UART_ADVFEATURE_NO_INIT;
  if (HAL_UART_Init(&huart4) != HAL_OK)
  {
    Error_Handler();
  }

}

static void MX_UART5_Init(void)
{

  huart5.Instance = UART5;
  huart5.Init.BaudRate = 115200;
  huart5.Init.WordLength = UART_WORDLENGTH_8B;
  huart5.Init.StopBits = UART_STOPBITS_1;
  huart5.Init.Parity = UART_PARITY_NONE;
  huart5.Init.Mode = UART_MODE_TX_RX;
  huart5.Init.HwFlowCtl = UART_HWCONTROL_NONE;
  huart5.Init.OverSampling = UART_OVERSAMPLING_16;
  huart5.Init.OneBitSampling = UART_ONE_BIT_SAMPLE_DISABLE;
  huart5.AdvancedInit.AdvFeatureInit = UART_ADVFEATURE_NO_INIT;
  if (HAL_UART_Init(&huart5) != HAL_OK)
  {
    Error_Handler();
  }

}

static void MX_USART1_UART_Init(void)
{

  huart1.Instance = USART1;
  huart1.Init.BaudRate = 115200;
  huart1.Init.WordLength = UART_WORDLENGTH_8B;
  huart1.Init.StopBits = UART_STOPBITS_1;
  huart1.Init.Parity = UART_PARITY_NONE;
  huart1.Init.Mode = UART_MODE_TX_RX;
  huart1.Init.HwFlowCtl = UART_HWCONTROL_NONE;
  huart1.Init.OverSampling = UART_OVERSAMPLING_16;
  huart1.Init.OneBitSampling = UART_ONE_BIT_SAMPLE_DISABLE;
  huart1.AdvancedInit.AdvFeatureInit = UART_ADVFEATURE_NO_INIT;
  if (HAL_UART_Init(&huart1) != HAL_OK)
  {
    Error_Handler();
  }

}

static void MX_USART2_UART_Init(void)
{

  huart2.Instance = USART2;
  huart2.Init.BaudRate = 115200;
  huart2.Init.WordLength = UART_WORDLENGTH_8B;
  huart2.Init.StopBits = UART_STOPBITS_1;
  huart2.Init.Parity = UART_PARITY_NONE;
  huart2.Init.Mode = UART_MODE_TX_RX;
  huart2.Init.HwFlowCtl = UART_HWCONTROL_NONE;
  huart2.Init.OverSampling = UART_OVERSAMPLING_16;
  huart2.Init.OneBitSampling = UART_ONE_BIT_SAMPLE_DISABLE;
  huart2.AdvancedInit.AdvFeatureInit = UART_ADVFEATURE_NO_INIT;
  if (HAL_UART_Init(&huart2) != HAL_OK)
  {
    Error_Handler();
  }

}

static void MX_USART3_UART_Init(void)
{

  huart3.Instance = USART3;
  huart3.Init.BaudRate = 115200;
  huart3.Init.WordLength = UART_WORDLENGTH_8B;
  huart3.Init.StopBits = UART_STOPBITS_1;
  huart3.Init.Parity = UART_PARITY_NONE;
  huart3.Init.Mode = UART_MODE_TX_RX;
  huart3.Init.HwFlowCtl = UART_HWCONTROL_NONE;
  huart3.Init.OverSampling = UART_OVERSAMPLING_16;
  huart3.Init.OneBitSampling = UART_ONE_BIT_SAMPLE_DISABLE;
  huart3.AdvancedInit.AdvFeatureInit = UART_ADVFEATURE_NO_INIT;
  if (HAL_UART_Init(&huart3) != HAL_OK)
  {
    Error_Handler();
  }

}

static void MX_GPIO_Init(void)
{
  GPIO_InitTypeDef GPIO_InitStruct = {0};

  /* GPIO Ports Clock Enable */
  __HAL_RCC_GPIOE_CLK_ENABLE();
  __HAL_RCC_GPIOC_CLK_ENABLE();
  __HAL_RCC_GPIOF_CLK_ENABLE();
  __HAL_RCC_GPIOH_CLK_ENABLE();
  __HAL_RCC_GPIOA_CLK_ENABLE();
  __HAL_RCC_GPIOB_CLK_ENABLE();
  __HAL_RCC_GPIOD_CLK_ENABLE();
  __HAL_RCC_GPIOG_CLK_ENABLE();

  /*Configure GPIO pin Output Level */
  HAL_GPIO_WritePin(GPIOE, GPIO_OUT_SPI_CS_SDCARD_Pin|GPIO_PIN_3|GPIO_OUT_SPI_CS_LCD_Pin, GPIO_PIN_RESET);

  /*Configure GPIO pin Output Level */
  HAL_GPIO_WritePin(GPIOB, LD1_Pin|LD3_Pin|LD2_Pin, GPIO_PIN_RESET);

  /*Configure GPIO pin Output Level */
  HAL_GPIO_WritePin(GPIOG, GPIO_PIN_6, GPIO_PIN_RESET);

  /*Configure GPIO pins : GPIO_OUT_SPI_CS_SDCARD_Pin PE3 GPIO_OUT_SPI_CS_LCD_Pin */
  GPIO_InitStruct.Pin = GPIO_OUT_SPI_CS_SDCARD_Pin|GPIO_PIN_3|GPIO_OUT_SPI_CS_LCD_Pin;
  GPIO_InitStruct.Mode = GPIO_MODE_OUTPUT_PP;
  GPIO_InitStruct.Pull = GPIO_NOPULL;
  GPIO_InitStruct.Speed = GPIO_SPEED_FREQ_LOW;
  HAL_GPIO_Init(GPIOE, &GPIO_InitStruct);

  /*Configure GPIO pin : GPIO_EXTI2_PROXY_TOF_SENS_IRQ_Pin */
  GPIO_InitStruct.Pin = GPIO_EXTI2_PROXY_TOF_SENS_IRQ_Pin;
  GPIO_InitStruct.Mode = GPIO_MODE_IT_FALLING;
  GPIO_InitStruct.Pull = GPIO_NOPULL;
  HAL_GPIO_Init(GPIO_EXTI2_PROXY_TOF_SENS_IRQ_GPIO_Port, &GPIO_InitStruct);

  /*Configure GPIO pins : GPIO_EXTI3_IMU_IRQ_Pin GPIO_EXTI4_KPAD_IRQ_Pin GPIO_EXTI8_USER_BUT1_IRQ_Pin GPIO_EXTI9_USER_BUT2_IRQ_Pin
                           GPIO_EXTI12_BUMP1_IRQ_Pin GPIO_EXTI13_BUMP2_IRQ_Pin GPIO_EXTI14_BUMP3_IRQ_Pin GPIO_EXTI15_BUMP4_IRQ_Pin */
  GPIO_InitStruct.Pin = GPIO_EXTI3_IMU_IRQ_Pin|GPIO_EXTI4_KPAD_IRQ_Pin|GPIO_EXTI8_USER_BUT1_IRQ_Pin|GPIO_EXTI9_USER_BUT2_IRQ_Pin
                          |GPIO_EXTI12_BUMP1_IRQ_Pin|GPIO_EXTI13_BUMP2_IRQ_Pin|GPIO_EXTI14_BUMP3_IRQ_Pin|GPIO_EXTI15_BUMP4_IRQ_Pin;
  GPIO_InitStruct.Mode = GPIO_MODE_IT_RISING;
  GPIO_InitStruct.Pull = GPIO_NOPULL;
  HAL_GPIO_Init(GPIOF, &GPIO_InitStruct);

  /*Configure GPIO pins : RMII_MDC_Pin RMII_RXD0_Pin RMII_RXD1_Pin */
  GPIO_InitStruct.Pin = RMII_MDC_Pin|RMII_RXD0_Pin|RMII_RXD1_Pin;
  GPIO_InitStruct.Mode = GPIO_MODE_AF_PP;
  GPIO_InitStruct.Pull = GPIO_NOPULL;
  GPIO_InitStruct.Speed = GPIO_SPEED_FREQ_VERY_HIGH;
  GPIO_InitStruct.Alternate = GPIO_AF11_ETH;
  HAL_GPIO_Init(GPIOC, &GPIO_InitStruct);

  /*Configure GPIO pins : RMII_REF_CLK_Pin RMII_MDIO_Pin RMII_CRS_DV_Pin */
  GPIO_InitStruct.Pin = RMII_REF_CLK_Pin|RMII_MDIO_Pin|RMII_CRS_DV_Pin;
  GPIO_InitStruct.Mode = GPIO_MODE_AF_PP;
  GPIO_InitStruct.Pull = GPIO_NOPULL;
  GPIO_InitStruct.Speed = GPIO_SPEED_FREQ_VERY_HIGH;
  GPIO_InitStruct.Alternate = GPIO_AF11_ETH;
  HAL_GPIO_Init(GPIOA, &GPIO_InitStruct);

  /*Configure GPIO pins : LD1_Pin LD3_Pin LD2_Pin */
  GPIO_InitStruct.Pin = LD1_Pin|LD3_Pin|LD2_Pin;
  GPIO_InitStruct.Mode = GPIO_MODE_OUTPUT_PP;
  GPIO_InitStruct.Pull = GPIO_NOPULL;
  GPIO_InitStruct.Speed = GPIO_SPEED_FREQ_LOW;
  HAL_GPIO_Init(GPIOB, &GPIO_InitStruct);

  /*Configure GPIO pin : RMII_TXD1_Pin */
  GPIO_InitStruct.Pin = RMII_TXD1_Pin;
  GPIO_InitStruct.Mode = GPIO_MODE_AF_PP;
  GPIO_InitStruct.Pull = GPIO_NOPULL;
  GPIO_InitStruct.Speed = GPIO_SPEED_FREQ_VERY_HIGH;
  GPIO_InitStruct.Alternate = GPIO_AF11_ETH;
  HAL_GPIO_Init(RMII_TXD1_GPIO_Port, &GPIO_InitStruct);

  /*Configure GPIO pin : PG6 */
  GPIO_InitStruct.Pin = GPIO_PIN_6;
  GPIO_InitStruct.Mode = GPIO_MODE_OUTPUT_PP;
  GPIO_InitStruct.Pull = GPIO_NOPULL;
  GPIO_InitStruct.Speed = GPIO_SPEED_FREQ_LOW;
  HAL_GPIO_Init(GPIOG, &GPIO_InitStruct);

  /*Configure GPIO pin : USB_OverCurrent_Pin */
  GPIO_InitStruct.Pin = USB_OverCurrent_Pin;
  GPIO_InitStruct.Mode = GPIO_MODE_INPUT;
  GPIO_InitStruct.Pull = GPIO_NOPULL;
  HAL_GPIO_Init(USB_OverCurrent_GPIO_Port, &GPIO_InitStruct);

  /*Configure GPIO pins : USB_SOF_Pin USB_ID_Pin USB_DM_Pin USB_DP_Pin */
  GPIO_InitStruct.Pin = USB_SOF_Pin|USB_ID_Pin|USB_DM_Pin|USB_DP_Pin;
  GPIO_InitStruct.Mode = GPIO_MODE_AF_PP;
  GPIO_InitStruct.Pull = GPIO_NOPULL;
  GPIO_InitStruct.Speed = GPIO_SPEED_FREQ_VERY_HIGH;
  GPIO_InitStruct.Alternate = GPIO_AF10_OTG_FS;
  HAL_GPIO_Init(GPIOA, &GPIO_InitStruct);

  /*Configure GPIO pin : USB_VBUS_Pin */
  GPIO_InitStruct.Pin = USB_VBUS_Pin;
  GPIO_InitStruct.Mode = GPIO_MODE_INPUT;
  GPIO_InitStruct.Pull = GPIO_NOPULL;
  HAL_GPIO_Init(USB_VBUS_GPIO_Port, &GPIO_InitStruct);

  /*Configure GPIO pins : RMII_TX_EN_Pin RMII_TXD0_Pin */
  GPIO_InitStruct.Pin = RMII_TX_EN_Pin|RMII_TXD0_Pin;
  GPIO_InitStruct.Mode = GPIO_MODE_AF_PP;
  GPIO_InitStruct.Pull = GPIO_NOPULL;
  GPIO_InitStruct.Speed = GPIO_SPEED_FREQ_VERY_HIGH;
  GPIO_InitStruct.Alternate = GPIO_AF11_ETH;
  HAL_GPIO_Init(GPIOG, &GPIO_InitStruct);

  /* EXTI interrupt init*/
  HAL_NVIC_SetPriority(EXTI2_IRQn, 1, 0);
  HAL_NVIC_EnableIRQ(EXTI2_IRQn);

}

void Error_Handler(void)
{
  __disable_irq();
  while (1)
  {
  }
}
